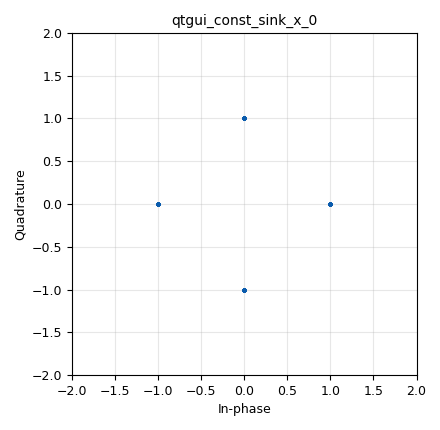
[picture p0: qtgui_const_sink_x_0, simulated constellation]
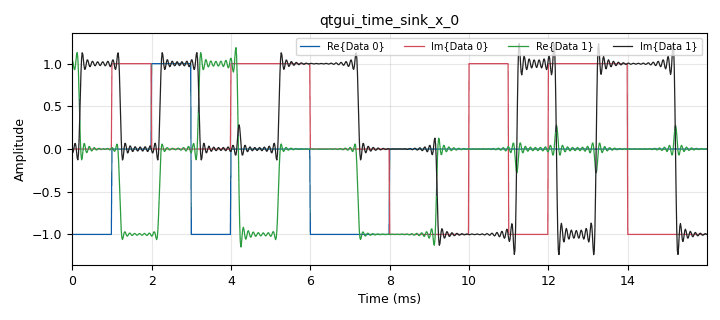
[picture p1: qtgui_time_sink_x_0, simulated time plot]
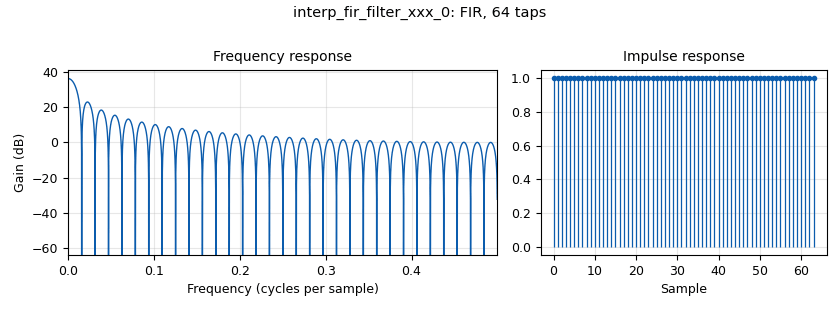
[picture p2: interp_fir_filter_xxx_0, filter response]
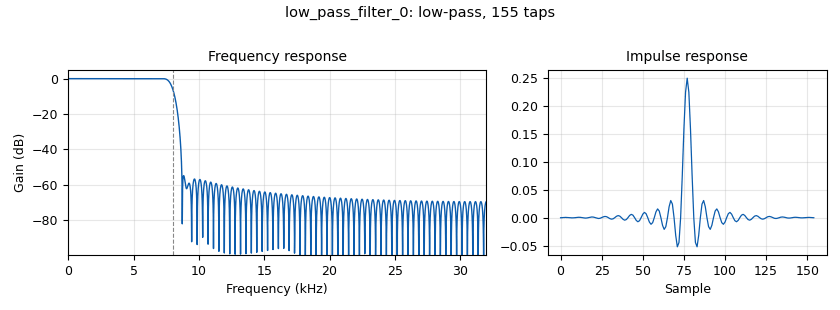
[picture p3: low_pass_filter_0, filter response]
options:
  parameters:
    author: YASH
    generate_options: qt_gui
    id: fsk
    output_language: python
    title: Not titled yet
  states: {}

blocks:
- name: N
  id: variable
  parameters:
    value: '4'
  states: {}
- name: delay_fsk
  id: variable_qtgui_range
  parameters:
    start: '0'
    step: '1'
    stop: '200'
    value: '0'
  states: {}
- name: interpolation_factor
  id: variable
  parameters:
    value: '64'
  states: {}
- name: samp_rate
  id: variable
  parameters:
    value: '64000'
  states: {}
- name: analog_random_source_x_0
  id: analog_random_source_x
  parameters:
    max: N
    min: '0'
    num_samps: '1024'
    repeat: 'True'
    type: int
  states: {}
- name: analog_sig_source_x_0
  id: analog_sig_source_x
  parameters:
    amp: '1.414'
    freq: '8000'
    offset: '0'
    phase: '0'
    samp_rate: samp_rate
    type: complex
    waveform: analog.GR_COS_WAVE
  states: {}
- name: analog_sig_source_x_0_0
  id: analog_sig_source_x
  parameters:
    amp: '1.414'
    freq: '8000'
    offset: '0'
    phase: '0'
    samp_rate: samp_rate
    type: float
    waveform: analog.GR_COS_WAVE
  states: {}
- name: analog_sig_source_x_0_0_0
  id: analog_sig_source_x
  parameters:
    amp: '-1.414'
    freq: '8000'
    offset: '0'
    phase: '0'
    samp_rate: samp_rate
    type: float
    waveform: analog.GR_SIN_WAVE
  states: {}
- name: blocks_complex_to_real_0
  id: blocks_complex_to_real
  parameters: {}
  states: {}
- name: blocks_delay_0
  id: blocks_delay
  parameters:
    delay: delay_fsk
    type: complex
  states: {}
- name: blocks_float_to_complex_0
  id: blocks_float_to_complex
  parameters: {}
  states: {}
- name: blocks_multiply_xx_0
  id: blocks_multiply_xx
  parameters:
    type: complex
  states: {}
- name: blocks_multiply_xx_0_0
  id: blocks_multiply_xx
  parameters:
    type: float
  states: {}
- name: blocks_multiply_xx_0_0_0
  id: blocks_multiply_xx
  parameters:
    type: float
  states: {}
- name: blocks_throttle2_0
  id: blocks_throttle2
  parameters:
    samples_per_second: samp_rate
    type: complex
  states: {}
- name: digital_chunks_to_symbols_xx_0
  id: digital_chunks_to_symbols_xx
  parameters:
    dimension: '1'
    in_type: int
    out_type: complex
    symbol_table: np.exp(1j*2*np.pi*np.arange(N)/N)
  states: {}
- name: import_0
  id: import
  parameters:
    imports: import numpy as np
  states: {}
- name: interp_fir_filter_xxx_0
  id: interp_fir_filter_xxx
  parameters:
    interp: ' interpolation_factor'
    taps: np.ones(interpolation_factor)
    type: ccc
  states: {}
- name: low_pass_filter_0
  id: low_pass_filter
  parameters:
    cutoff_freq: '8000'
    gain: '1'
    interp: '1'
    samp_rate: samp_rate
    type: interp_fir_filter_fff
    width: '1000'
    win: window.WIN_HAMMING
  states: {}
- name: low_pass_filter_0_0
  id: low_pass_filter
  parameters:
    cutoff_freq: '8000'
    gain: '1'
    interp: '1'
    samp_rate: samp_rate
    type: interp_fir_filter_fff
    width: '1000'
    win: window.WIN_HAMMING
  states: {}
- name: qtgui_const_sink_x_0
  id: qtgui_const_sink_x
  parameters:
    size: '1024'
    type: complex
  states: {}
- name: qtgui_time_sink_x_0
  id: qtgui_time_sink_x
  parameters:
    autoscale: 'True'
    ctrlpanel: 'True'
    nconnections: '2'
    size: '1024'
    srate: samp_rate
    type: complex
  states: {}
- name: virtual_sink_0
  id: virtual_sink
  parameters:
    stream_id: psk_bb
  states: {}
- name: virtual_source_0
  id: virtual_source
  parameters:
    stream_id: psk_bb
  states: {}

connections:
- [analog_random_source_x_0, '0', digital_chunks_to_symbols_xx_0, '0']
- [analog_sig_source_x_0, '0', blocks_multiply_xx_0, '1']
- [analog_sig_source_x_0_0, '0', blocks_multiply_xx_0_0, '1']
- [analog_sig_source_x_0_0_0, '0', blocks_multiply_xx_0_0_0, '1']
- [blocks_complex_to_real_0, '0', blocks_multiply_xx_0_0, '0']
- [blocks_complex_to_real_0, '0', blocks_multiply_xx_0_0_0, '0']
- [blocks_delay_0, '0', qtgui_time_sink_x_0, '0']
- [blocks_float_to_complex_0, '0', qtgui_time_sink_x_0, '1']
- [blocks_multiply_xx_0, '0', blocks_complex_to_real_0, '0']
- [blocks_multiply_xx_0_0, '0', low_pass_filter_0, '0']
- [blocks_multiply_xx_0_0_0, '0', low_pass_filter_0_0, '0']
- [blocks_throttle2_0, '0', blocks_delay_0, '0']
- [blocks_throttle2_0, '0', qtgui_const_sink_x_0, '0']
- [blocks_throttle2_0, '0', virtual_sink_0, '0']
- [digital_chunks_to_symbols_xx_0, '0', interp_fir_filter_xxx_0, '0']
- [interp_fir_filter_xxx_0, '0', blocks_throttle2_0, '0']
- [low_pass_filter_0, '0', blocks_float_to_complex_0, '0']
- [low_pass_filter_0_0, '0', blocks_float_to_complex_0, '1']
- [virtual_source_0, '0', blocks_multiply_xx_0, '0']

metadata:
  file_format: 1
  grc_version: 3.10.7.0
